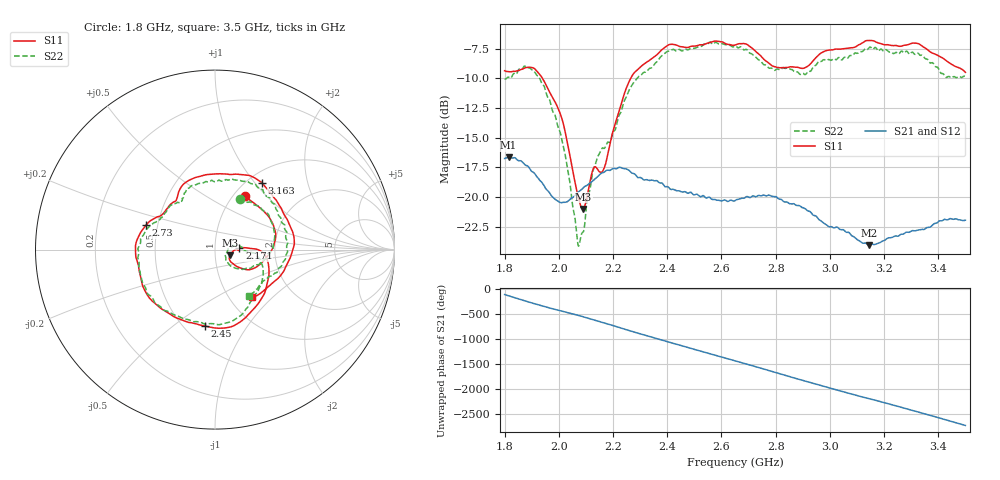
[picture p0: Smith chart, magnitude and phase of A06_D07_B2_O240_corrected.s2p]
! Created with skrf 1.9.0 (http://scikit-rf.org).
# Hz S RI R 50.0
!freq ReS11 ImS11 ReS21 ImS21 ReS12 ImS12 ReS22 ImS22
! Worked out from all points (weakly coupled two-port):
!   1601 points, 1.8 GHz to 3.5 GHz, reference 50 ohm
!   highest |S21| = -16.66 dB at 1.815 GHz (marker M1); lowest = -24.0 dB at 3.144 GHz (marker M2)
!   lowest |S11| = -21.0 dB at 2.09 GHz (marker M3), VSWR 1.20, Z = 59 - j3.77 ohm
!   |S11| at or under -10 dB: 1.94 GHz to 2.265 GHz (325 MHz wide, 15.5 % of centre)
!   |S22| runs from -24.1 to -6.9 dB; largest |S21 - S12| = 0.0027
!   S11 on the Smith chart (normalised r, x): 1.8 GHz: 1.13, +0.76; 2.171 GHz: 1.31, +0.02; 2.45 GHz: 0.63, -0.66; 2.73 GHz: 0.43, +0.14; 3.163 GHz: 1.16, +1.09; 3.5 GHz: 1.27, -0.76
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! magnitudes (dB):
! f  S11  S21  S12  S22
! 1.8 GHz  -9.4  -16.8  -16.8  -10.0
! 1.815 GHz  -9.4  -16.7  -16.7  -9.9
! 1.88 GHz  -9.1  -17.3  -17.3  -9.1
! 1.943 GHz  -10.1  -19.0  -19.0  -10.6
! 2.011 GHz  -13.4  -20.5  -20.5  -15.2
! 2.069 GHz  -19.7  -19.6  -19.7  -23.7
! 2.084 GHz  -20.9  -19.4  -19.3  -23.1
! 2.09 GHz  -21.0  -19.2  -19.3  -22.9
! 2.129 GHz  -17.5  -18.6  -18.6  -17.6
! 2.171 GHz  -17.3  -17.8  -17.9  -15.8
! 2.261 GHz  -10.2  -17.8  -17.8  -10.9
! 2.367 GHz  -7.9  -18.7  -18.7  -8.4
! 2.45 GHz  -7.3  -19.5  -19.5  -7.6
! 2.65 GHz  -7.2  -20.3  -20.3  -7.3
! 2.73 GHz  -7.8  -19.9  -20.0  -8.3
! 2.808 GHz  -9.1  -20.1  -20.1  -9.2
! 2.934 GHz  -8.6  -21.4  -21.4  -9.2
! 3.144 GHz  -6.8  -24.0  -24.0  -7.4
! 3.163 GHz  -6.8  -24.0  -24.0  -7.5
! 3.217 GHz  -7.2  -23.4  -23.4  -7.8
! 3.326 GHz  -7.1  -22.8  -22.8  -7.9
! 3.5 GHz  -9.5  -21.9  -21.9  -9.9
